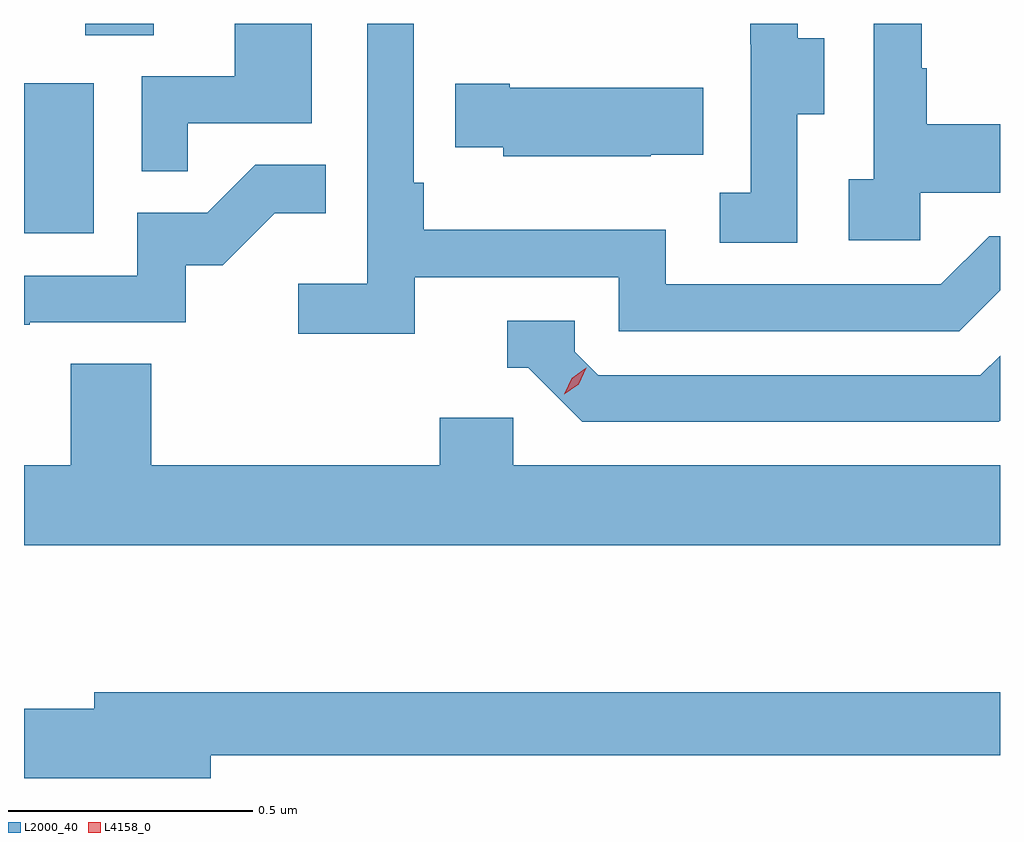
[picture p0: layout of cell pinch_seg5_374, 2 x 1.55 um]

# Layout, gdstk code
import gdstk
lib = gdstk.Library(unit=1e-6, precision=1e-09)
def R(c, l, rs):  # rectangles x0, y0, x1, y1
    for r in rs: c.add(gdstk.rectangle(r[:2], r[2:], *l))
def P(c, l, *ps):  # polygons
    for p in ps: c.add(gdstk.Polygon(p, *l))
L2000_40 = (2000, 40)
L4158_0 = (4158, 0)

pinch_seg5_374 = lib.new_cell('pinch_seg5_374')
R(pinch_seg5_374, L2000_40, [(1011.605,880.044,1011.748,880.351), (1011.731,880.45,1011.871,880.473)])
P(pinch_seg5_374, L2000_40, [(1012.406,879.954),(1012.824,879.954),(1012.824,879.843),(1013.521,879.843),(1013.605,879.927),(1013.605,880.038),(1013.583,880.038),(1013.484,879.939),(1012.92,879.939),(1012.92,880.051),(1012.424,880.051),(1012.424,880.147),(1012.404,880.147),(1012.404,880.473),(1012.308,880.473),(1012.308,879.94),(1012.167,879.94),(1012.167,879.838),(1012.406,879.838)],
  [(1013.442,880.127),(1013.605,880.127),(1013.605,880.267),(1013.455,880.267),(1013.455,880.382),(1013.445,880.382),(1013.445,880.473),(1013.346,880.473),(1013.346,880.154),(1013.295,880.154),(1013.295,880.029),(1013.442,880.029)],
  [(1013.19,880.288),(1013.245,880.288),(1013.245,880.443),(1013.191,880.443),(1013.191,880.473),(1013.093,880.473),(1013.093,880.431),(1013.094,880.431),(1013.094,880.127),(1013.031,880.127),(1013.031,880.024),(1013.19,880.024)],
  [(1011.941,880.269),(1012.195,880.269),(1012.195,880.473),(1012.037,880.473),(1012.037,880.365),(1011.846,880.365),(1011.846,880.171),(1011.941,880.171)],
  [(1012.889,880.205),(1012.997,880.205),(1012.997,880.342),(1012.6,880.342),(1012.6,880.35),(1012.489,880.35),(1012.489,880.22),(1012.587,880.22),(1012.587,880.202),(1012.889,880.202)],
  [(1011.617,879.861),(1011.936,879.861),(1011.936,879.978),(1012.012,879.978),(1012.119,880.085),(1012.223,880.085),(1012.223,880.184),(1012.079,880.184),(1011.981,880.086),(1011.837,880.086),(1011.837,879.957),(1011.605,879.957),(1011.605,879.856),(1011.617,879.856)],
  [(1013.605,879.66),(1013.605,879.793),(1013.565,879.753),(1012.782,879.753),(1012.734,879.801),(1012.734,879.864),(1012.595,879.864),(1012.595,879.768),(1012.638,879.768),(1012.749,879.657),(1013.602,879.657)],
  [(1013.605,879.568),(1012.608,879.568),(1012.608,879.666),(1012.457,879.666),(1012.457,879.568),(1011.866,879.568),(1011.866,879.776),(1011.701,879.776),(1011.701,879.568),(1011.605,879.568),(1011.605,879.404),(1013.605,879.404)],
  [(1011.988,878.974),(1013.605,878.974),(1013.605,879.103),(1011.749,879.103),(1011.749,879.069),(1011.605,879.069),(1011.605,878.927),(1011.988,878.927)])
P(pinch_seg5_374, L4158_0, [(1012.712,879.714),(1012.712,879.714),(1012.727,879.747),(1012.757,879.768),(1012.757,879.768),(1012.757,879.768),(1012.742,879.734),(1012.712,879.714)])

lib.write_gds('pinch_seg5_374.gds')
